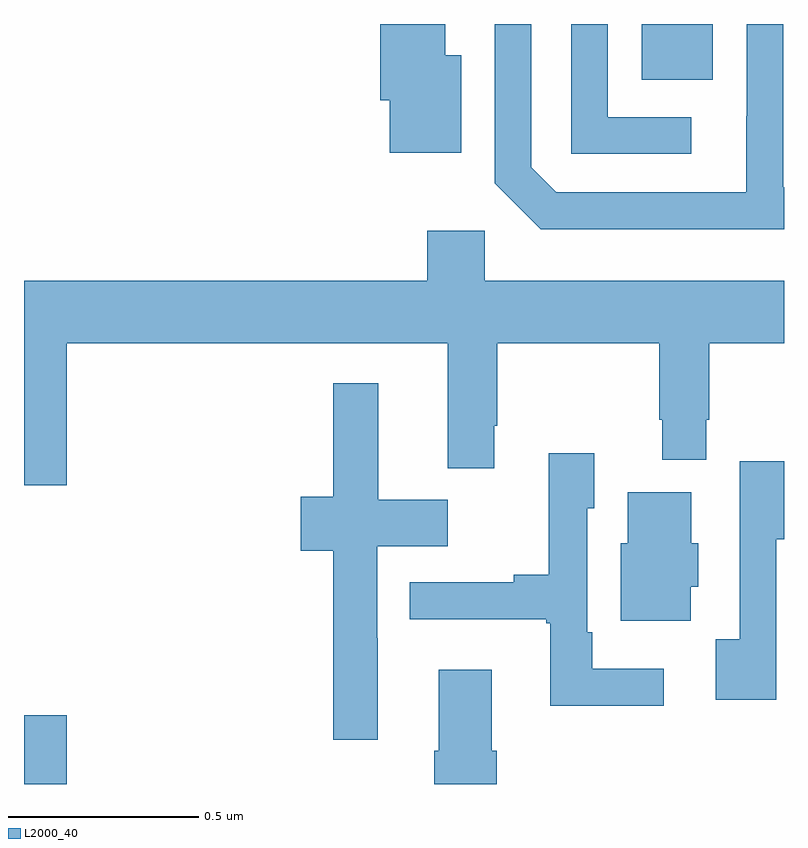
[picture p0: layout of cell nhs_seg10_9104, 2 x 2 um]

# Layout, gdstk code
import gdstk
lib = gdstk.Library(unit=1e-6, precision=1e-09)
def R(c, l, rs):  # rectangles x0, y0, x1, y1
    for r in rs: c.add(gdstk.rectangle(r[:2], r[2:], *l))
def P(c, l, *ps):  # polygons
    for p in ps: c.add(gdstk.Polygon(p, *l))
L2000_40 = (2000, 40)

nhs_seg10_9104 = lib.new_cell('nhs_seg10_9104')
R(nhs_seg10_9104, L2000_40, [(225,1288.5,225.112,1288.681), (226.625,1290.353,226.813,1290.5)])
P(nhs_seg10_9104, L2000_40, [(227,1290.07),(226.998,1290.07),(226.998,1290.5),(226.902,1290.5),(226.902,1290.257),(226.901,1290.257),(226.901,1290.057),(226.401,1290.057),(226.335,1290.123),(226.335,1290.5),(226.239,1290.5),(226.239,1290.081),(226.36,1289.96),(227,1289.96)],
  [(226.15,1290.418),(226.108,1290.418),(226.108,1290.5),(225.938,1290.5),(225.938,1290.3),(225.962,1290.3),(225.962,1290.161),(226.15,1290.161)],
  [(226.756,1290.255),(226.536,1290.255),(226.536,1290.5),(226.44,1290.5),(226.44,1290.159),(226.756,1290.159)],
  [(225.112,1289.66),(226.115,1289.66),(226.115,1289.331),(226.237,1289.331),(226.237,1289.443),(226.245,1289.443),(226.245,1289.66),(226.672,1289.66),(226.672,1289.458),(226.679,1289.458),(226.679,1289.353),(226.795,1289.353),(226.795,1289.458),(226.803,1289.458),(226.803,1289.66),(227,1289.66),(227,1289.824),(226.212,1289.824),(226.212,1289.956),(226.061,1289.956),(226.061,1289.824),(225,1289.824),(225,1289.286),(225.112,1289.286)],
  [(225.931,1288.883),(225.93,1288.883),(225.93,1289.126),(226.115,1289.126),(226.115,1289.248),(225.932,1289.248),(225.932,1289.554),(225.814,1289.554),(225.814,1289.256),(225.728,1289.256),(225.728,1289.114),(225.814,1289.114),(225.814,1288.617),(225.931,1288.617)],
  [(226.684,1288.803),(226.495,1288.803),(226.495,1288.9),(226.482,1288.9),(226.482,1289.226),(226.501,1289.226),(226.501,1289.371),(226.381,1289.371),(226.381,1289.051),(226.289,1289.051),(226.289,1289.031),(226.015,1289.031),(226.015,1288.934),(226.374,1288.934),(226.374,1288.923),(226.385,1288.923),(226.385,1288.706),(226.684,1288.706)],
  [(226.98,1289.144),(227,1289.144),(227,1289.35),(226.884,1289.35),(226.884,1288.881),(226.821,1288.881),(226.821,1288.722),(226.98,1288.722)],
  [(226.755,1289.019),(226.774,1289.019),(226.774,1289.133),(226.756,1289.133),(226.756,1289.268),(226.589,1289.268),(226.589,1289.133),(226.571,1289.133),(226.571,1288.929),(226.755,1288.929)],
  [(226.244,1288.588),(226.231,1288.588),(226.231,1288.801),(226.091,1288.801),(226.091,1288.588),(226.079,1288.588),(226.079,1288.5),(226.244,1288.5)])

lib.write_gds('nhs_seg10_9104.gds')
